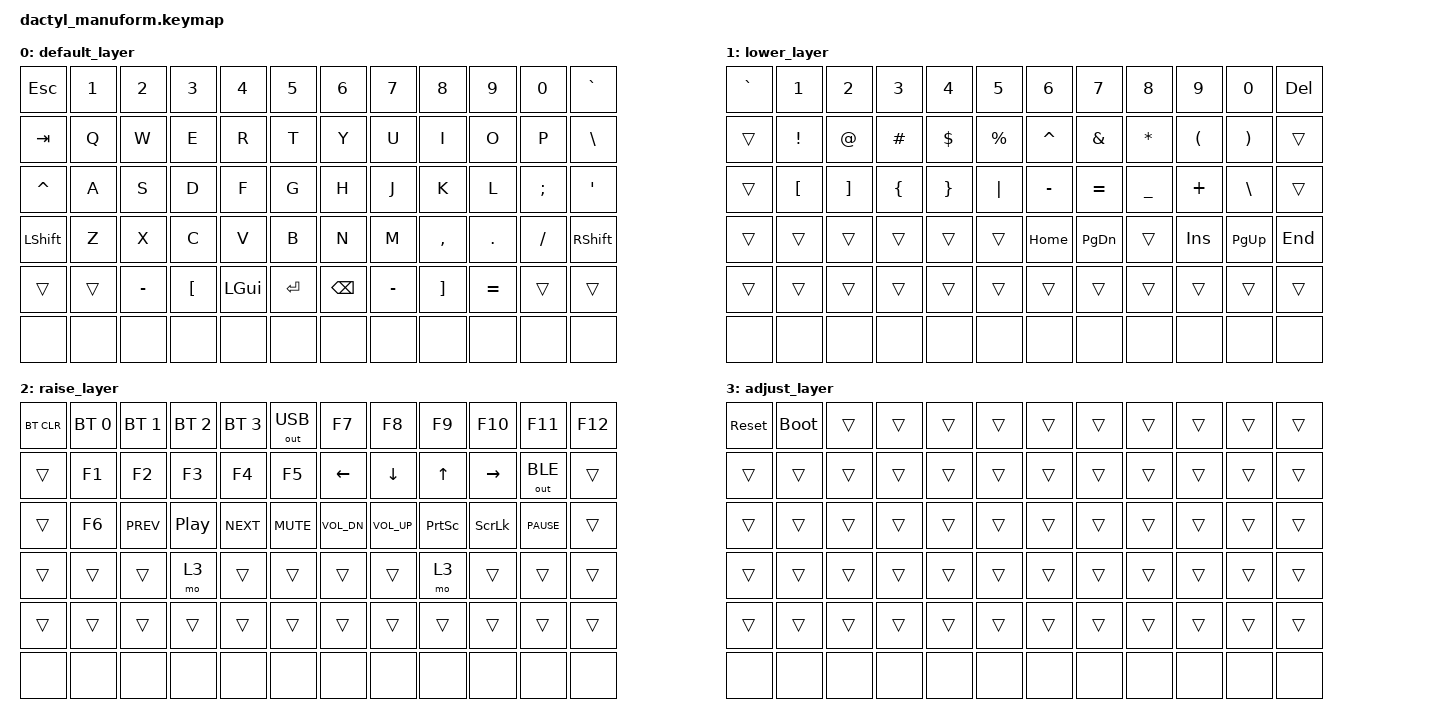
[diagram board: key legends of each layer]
#include <behaviors.dtsi>
#include <dt-bindings/zmk/keys.h>
#include <dt-bindings/zmk/bt.h>
#include <dt-bindings/zmk/outputs.h>

/ {
    keymap {
        compatible = "zmk,keymap";

        default_layer {
            bindings = <
&kp ESC   &kp N1    &kp N2    &kp N3    &kp N4    &kp N5           &kp N6    &kp N7    &kp N8     &kp N9      &kp N0      &kp GRAVE
&kp TAB   &kp Q     &kp W     &kp E     &kp R     &kp T            &kp Y     &kp U     &kp I      &kp O       &kp P       &kp BSLH
&kp CARET &kp A     &kp S     &kp D     &kp F     &kp G            &kp H     &kp J     &kp K      &kp L       &kp SEMI    &kp SQT
&kp LSHFT &kp Z     &kp X     &kp C     &kp V     &kp B            &kp N     &kp M     &kp COMMA  &kp DOT     &kp FSLH    &kp RSHFT
&trans    &trans    &kp MINUS &kp LBKT  &kp LGUI  &kp ENTER        &kp BSPC  &kp MINUS &kp RBKT   &kp EQUAL   &trans      &trans
&none     &none     &none     &none     &none     &none            &none     &none     &none      &none       &none       &none
            >;
        };

        lower_layer {
            bindings = <
&kp GRAVE &kp N1    &kp N2    &kp N3    &kp N4    &kp N5           &kp N6    &kp N7    &kp N8     &kp N9      &kp N0      &kp DEL
&trans    &kp EXCL  &kp AT    &kp HASH  &kp DLLR  &kp PRCNT        &kp CARET &kp AMPS  &kp STAR   &kp LPAR    &kp RPAR    &trans
&trans    &kp LBKT  &kp RBKT  &kp LBRC  &kp RBRC  &kp PIPE         &kp MINUS &kp EQUAL &kp UNDER  &kp PLUS    &kp BSLH    &trans
&trans    &trans    &trans    &trans    &trans    &trans           &kp HOME  &kp PG_DN &trans     &kp INS     &kp PG_UP   &kp END
&trans    &trans    &trans    &trans    &trans    &trans           &trans    &trans    &trans     &trans      &trans      &trans
&none     &none     &none     &none     &none     &none            &none     &none     &none      &none       &none       &none
            >;
        };

        raise_layer {
            bindings = <
&bt BT_CLR &bt BT_SEL 0 &bt BT_SEL 1 &bt BT_SEL 2 &bt BT_SEL 3 &out OUT_USB   &kp F7    &kp F8    &kp F9     &kp F10     &kp F11     &kp F12
&trans     &kp F1       &kp F2       &kp F3       &kp F4       &kp F5         &kp LEFT  &kp DOWN  &kp UP     &kp RIGHT   &out OUT_BLE &trans
&trans     &kp F6       &kp C_PREV   &kp C_PP     &kp C_NEXT   &kp C_MUTE     &kp C_VOL_DN &kp C_VOL_UP &kp PSCRN &kp SLCK &kp PAUSE &trans
&trans     &trans       &trans       &mo 3        &trans       &trans         &trans    &trans    &mo 3      &trans      &trans      &trans
&trans     &trans       &trans       &trans       &trans       &trans         &trans    &trans    &trans     &trans      &trans      &trans
&none      &none        &none        &none        &none        &none          &none     &none     &none      &none       &none       &none
            >;
        };

        adjust_layer {
            bindings = <
&sys_reset &bootloader &trans &trans &trans &trans                  &trans &trans &trans &trans &trans &trans
&trans     &trans      &trans &trans &trans &trans                  &trans &trans &trans &trans &trans &trans
&trans     &trans      &trans &trans &trans &trans                  &trans &trans &trans &trans &trans &trans
&trans     &trans      &trans &trans &trans &trans                  &trans &trans &trans &trans &trans &trans
&trans     &trans      &trans &trans &trans &trans                  &trans &trans &trans &trans &trans &trans
&none      &none       &none  &none  &none  &none                   &none  &none  &none  &none  &none  &none
            >;
        };
    };
};
